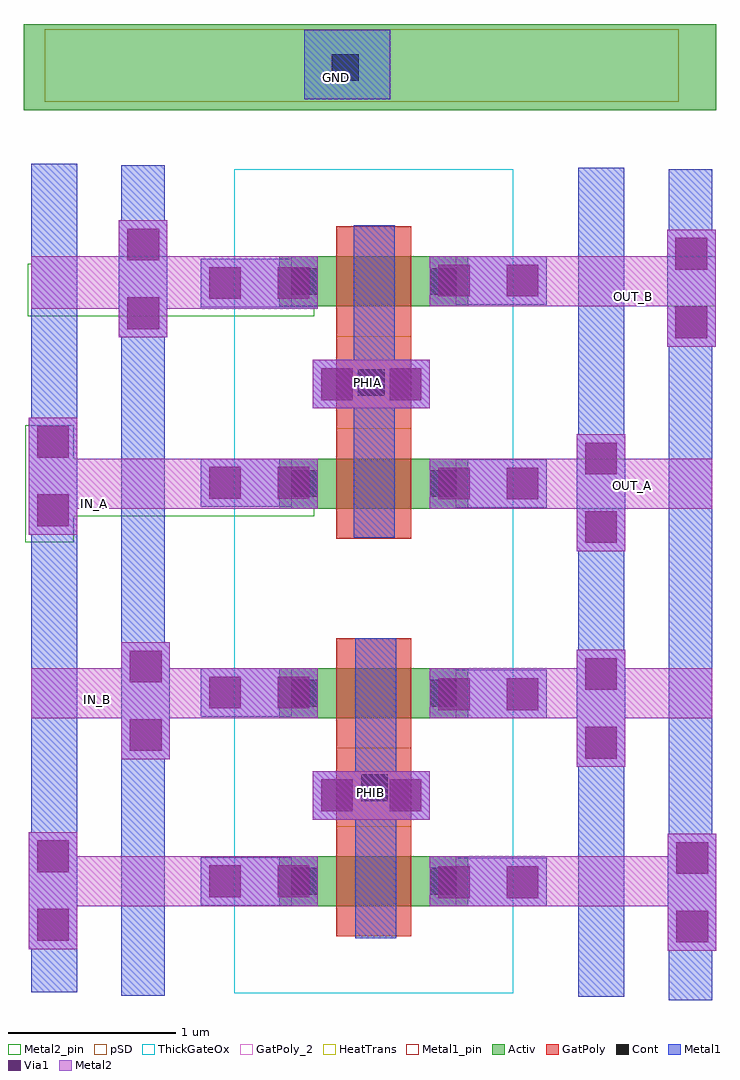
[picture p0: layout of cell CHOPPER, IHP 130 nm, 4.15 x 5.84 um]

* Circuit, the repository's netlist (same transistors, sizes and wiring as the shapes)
** sch_path: /home/designer/shared/unicass_2026/Design_Files/github_clone_circuit_/UNI-CASS_Project_2025_IIT_DH/CHOPPER.sch
.subckt CHOPPER PHIA OUT_A IN_A PHIB OUT_B IN_B GND
*.PININFO IN_A:B IN_B:B OUT_B:B OUT_A:B PHIA:B PHIB:B GND:B
M1 OUT_A PHIA IN_A GND sg13_hv_nmos w=0.3u l=0.45u ng=1 m=1
M2 OUT_B PHIA IN_B GND sg13_hv_nmos w=0.3u l=0.45u ng=1 m=1
M3 OUT_B PHIB IN_A GND sg13_hv_nmos w=0.3u l=0.45u ng=1 m=1
M4 IN_B PHIB OUT_A GND sg13_hv_nmos w=0.3u l=0.45u ng=1 m=1
.ends

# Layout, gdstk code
from math import pi, radians
import gdstk
lib = gdstk.Library(unit=1e-6, precision=1e-09)
def R(c, l, rs):  # rectangles x0, y0, x1, y1
    for r in rs: c.add(gdstk.rectangle(r[:2], r[2:], *l))
def P(c, l, *ps):  # polygons
    for p in ps: c.add(gdstk.Polygon(p, *l))
Activ = (1, 0)
GatPoly = (5, 0)
GatPoly_2 = (5, 2)
Cont = (6, 0)
Metal1 = (8, 0)
Metal1_pin = (8, 2)
Metal2 = (10, 0)
Metal2_pin = (10, 2)
pSD = (14, 0)
Via1 = (19, 0)
ThickGateOx = (44, 0)
HeatTrans = (51, 0)

via_stack = lib.new_cell('via_stack')
R(via_stack, Metal1, [(-0.35,-0.145,0.35,0.145)])
R(via_stack, Metal2, [(-0.35,-0.145,0.35,0.145)])
R(via_stack, Via1, [(-0.3,-0.095,-0.11,0.095), (0.11,-0.095,0.3,0.095)])

via_stack_1 = lib.new_cell('via_stack$1')
R(via_stack_1, Metal1, [(-0.145,-0.35,0.145,0.35)])
R(via_stack_1, Metal2, [(-0.145,-0.35,0.145,0.35)])
R(via_stack_1, Via1, [(-0.095,-0.3,0.095,-0.11), (-0.095,0.11,0.095,0.3)])

nmoshv = lib.new_cell('nmosHV')
R(nmoshv, Activ, [(0,0,0.3,0.3), (0,0,1.13,0.3), (0.83,0,1.13,0.3)])
R(nmoshv, GatPoly, [(0.34,-0.18,0.79,0.48)])
R(nmoshv, GatPoly_2, [(0.34,-0.18,0.79,0.48)])
R(nmoshv, Cont, [(0.07,0.07,0.23,0.23), (0.9,0.07,1.06,0.23)])
R(nmoshv, Metal1, [(0.07,0,0.23,0.3), (0.9,0,1.06,0.3)])
R(nmoshv, Metal1_pin, [(0.07,0,0.23,0.3), (0.9,0,1.06,0.3)])
R(nmoshv, ThickGateOx, [(-0.27,-0.52,1.4,0.82)])
R(nmoshv, HeatTrans, [(0.34,-0.18,0.79,0.48)])
nmoshv.add(gdstk.Label('nmosHV', (0.565,0.15), layer=63, texttype=0))
nmoshv.add(gdstk.Label('nmosHV', (0.565,0.15), layer=51, texttype=0))

chopper = lib.new_cell('CHOPPER')
R(chopper, Activ, [(271.355,383.02,275.5,383.535)])
R(chopper, GatPoly, [(273.225,378.735,273.675,379.2), (273.225,381.115,273.675,381.665)])
R(chopper, Cont, [(273.375,378.885,273.535,379.045), (273.355,381.31,273.515,381.47), (273.2,383.195,273.36,383.355)])
R(chopper, Metal1, [(275.215,377.695,275.475,382.665), (274.675,377.715,274.95,382.675), (271.94,377.72,272.2,382.69), (271.4,377.74,271.675,382.7), (273.34,378.065,273.585,379.86), (273.375,378.885,273.535,379.045), (273.33,380.46,273.575,382.33), (273.355,381.31,273.515,381.47), (273.035,383.085,273.55,383.5)])
R(chopper, Metal1_pin, [(273.375,378.885,273.535,379.045), (273.355,381.31,273.515,381.47), (273.035,383.085,273.55,383.5)])
R(chopper, Metal2, [(271.4,378.255,273.115,378.555), (273.785,378.255,275.475,378.555), (271.4,379.38,273.115,379.68), (273.785,379.38,275.475,379.68), (271.4,380.635,273.115,380.935), (273.785,380.635,275.475,380.935), (271.4,381.83,273.115,382.145), (273.785,381.845,275.495,382.145)])
R(chopper, Metal2_pin, [(271.4,380.635,273.115,380.935), (273.785,380.635,275.475,380.935), (271.38,381.785,273.095,382.1), (271.4,381.83,273.115,382.145), (273.785,381.845,275.495,382.145)])
P(chopper, Metal2_pin, [(271.365,380.435),(271.365,381.135),(271.655,381.135),(271.655,380.89),(273.095,380.89),(273.095,380.59),(271.655,380.59),(271.655,380.435)])
R(chopper, pSD, [(271.48,383.07,275.275,383.505)])
chopper.add(gdstk.Reference(via_stack, (274.135,378.4)))
chopper.add(gdstk.Reference(via_stack, (274.135,380.785)))
chopper.add(gdstk.Reference(via_stack, (272.765,379.535)))
chopper.add(gdstk.Reference(via_stack, (274.135,379.525)))
chopper.add(gdstk.Reference(via_stack, (272.765,378.405)))
chopper.add(gdstk.Reference(via_stack, (272.765,380.79)))
chopper.add(gdstk.Reference(via_stack_1, (275.355,378.34)))
chopper.add(gdstk.Reference(via_stack_1, (274.81,379.44)))
chopper.add(gdstk.Reference(via_stack_1, (274.81,380.73)))
chopper.add(gdstk.Reference(via_stack_1, (271.53,378.35)))
chopper.add(gdstk.Reference(via_stack_1, (272.085,379.485)))
chopper.add(gdstk.Reference(via_stack_1, (271.53,380.83)))
chopper.add(gdstk.Reference(via_stack, (272.765,381.985)))
chopper.add(gdstk.Reference(nmoshv, (272.885,380.935), x_reflection=True))
chopper.add(gdstk.Reference(nmoshv, (272.885,379.68), x_reflection=True))
chopper.add(gdstk.Reference(nmoshv, (272.885,378.555), x_reflection=True))
chopper.add(gdstk.Reference(via_stack_1, (273.435,378.92), rotation=pi/2))
chopper.add(gdstk.Reference(via_stack_1, (273.435,381.38), rotation=pi/2))
chopper.add(gdstk.Reference(via_stack, (274.135,382)))
chopper.add(gdstk.Reference(via_stack_1, (275.35,381.955)))
chopper.add(gdstk.Reference(via_stack_1, (272.07,382.01)))
chopper.add(gdstk.Reference(nmoshv, (272.885,382.145), x_reflection=True))
chopper.add(gdstk.Label('GND', (273.225,383.215), layer=8, texttype=25))
chopper.add(gdstk.Label('PHIA', (273.415,381.39), layer=10, texttype=25))
chopper.add(gdstk.Label('PHIB', (273.43,378.935), layer=10, texttype=25))
chopper.add(gdstk.Label('IN_A', (271.78,380.665), layer=10, texttype=25))
chopper.add(gdstk.Label('OUT_B', (275.005,381.905), layer=10, texttype=25))
chopper.add(gdstk.Label('OUT_A', (275,380.775), layer=10, texttype=25))
chopper.add(gdstk.Label('IN_B', (271.795,379.495), layer=10, texttype=25))

lib.write_gds('CHOPPER.gds')
